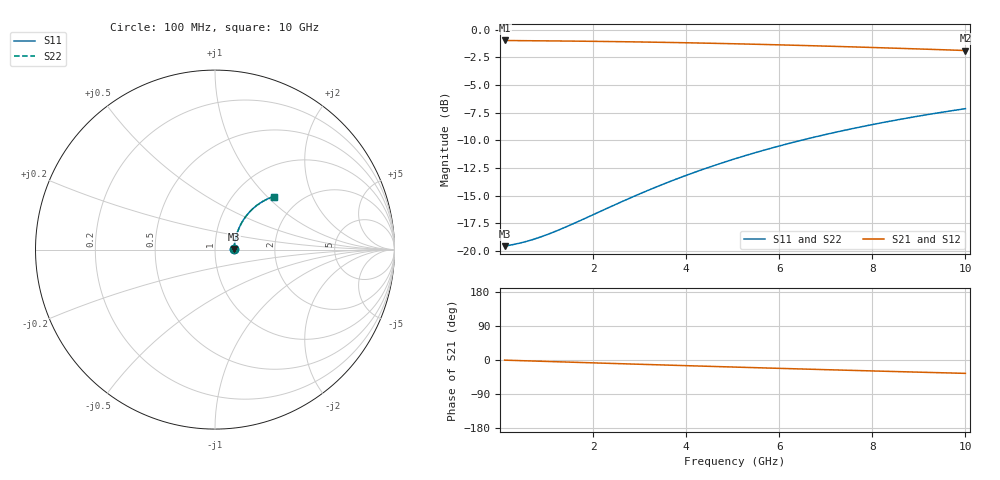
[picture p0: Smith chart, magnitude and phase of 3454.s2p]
# Hz S RI R 50.00
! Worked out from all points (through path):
!   100 points, 100 MHz to 10 GHz, reference 50 ohm
!   highest |S21| = -0.96 dB at 100 MHz (marker M1); lowest = -1.9 dB at 10 GHz (marker M2)
!   group delay of S21, straight-line fit = 9.83 ps
!   lowest |S11| = -19.6 dB at 100 MHz (marker M3), VSWR 1.24, Z = 61.7 + j0.529 ohm
!   |S11| at or under -10 dB: start of sweep to 6.464 GHz
!   |S22| runs from -19.6 to -7.1 dB; largest |S21 - S12| = 0
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1e8  0.1052 0.00424  0.8948 -0.00592  0.8948 -0.00592  0.1052 0.00424
3e8  0.1064 0.0127  0.8935 -0.0177  0.8935 -0.0177  0.1064 0.0127
5e8  0.1076 0.0211  0.8924 -0.0295  0.8924 -0.0295  0.1076 0.0211
8e8  0.1094 0.0336  0.8905 -0.0471  0.8905 -0.0471  0.1094 0.0336
1e9  0.1108 0.0419  0.8891 -0.0587  0.8891 -0.0587  0.1108 0.0419
1.2e9  0.1123 0.0501  0.8875 -0.0703  0.8875 -0.0703  0.1123 0.0501
1.5e9  0.115 0.0624  0.8847 -0.0877  0.8847 -0.0877  0.115 0.0624
1.8e9  0.1181 0.0746  0.8814 -0.1049  0.8814 -0.1049  0.1181 0.0746
2.7e9  0.1299 0.1099  0.869 -0.1554  0.869 -0.1554  0.1299 0.1099
3.4e9  0.1416 0.1361  0.8566 -0.1934  0.8566 -0.1934  0.1416 0.1361
3.8e9  0.1493 0.1504  0.8485 -0.2145  0.8485 -0.2145  0.1493 0.1504
4.2e9  0.1576 0.1643  0.8397 -0.2351  0.8397 -0.2351  0.1576 0.1643
4.6e9  0.1666 0.1776  0.8302 -0.2552  0.8302 -0.2552  0.1666 0.1776
5.1e9  0.1786 0.1934  0.8175 -0.2795  0.8175 -0.2795  0.1786 0.1934
5.5e9  0.1888 0.2054  0.8066 -0.2983  0.8066 -0.2983  0.1888 0.2054
5.9e9  0.1995 0.2167  0.7952 -0.3164  0.7952 -0.3164  0.1995 0.2167
6.3e9  0.2106 0.2274  0.7834 -0.334  0.7834 -0.334  0.2106 0.2274
6.7e9  0.2221 0.2375  0.7711 -0.3509  0.7711 -0.3509  0.2221 0.2375
7.5e9  0.2461 0.2556  0.7453 -0.3827  0.7453 -0.3827  0.2461 0.2556
8.4e9  0.2744 0.2728  0.7148 -0.4154  0.7148 -0.4154  0.2744 0.2728
9.2e9  0.3003 0.2852  0.6867 -0.4416  0.6867 -0.4416  0.3003 0.2852
1e10  0.3265 0.295  0.6581 -0.4653  0.6581 -0.4653  0.3265 0.295
